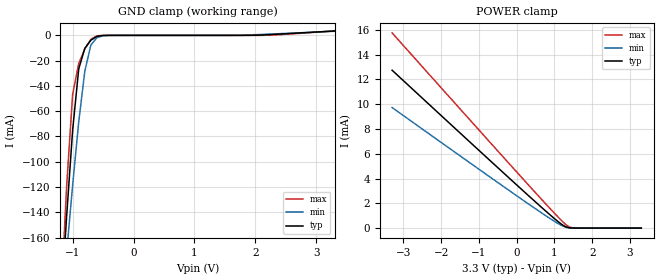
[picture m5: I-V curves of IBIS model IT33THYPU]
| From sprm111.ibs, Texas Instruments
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[Model]   IT33THYPU
Model_type   Input
Polarity   Non-Inverting
| signals   A, Y
Vinl = 0.8V
Vinh = 2.0V
|   typ   min   max
C_comp   1.5797p   1.5046p   1.7659p
|   typ   min   max
[Temperature Range]   25   -40   125
|   typ   min   max
[Voltage Range]   3.30V   3.00V   3.60V
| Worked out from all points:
|   GND clamp passes 1 mA (typ) near -0.61 V on its own axis
[GND_clamp]
|   Voltage   I(typ)   I(min)   I(max)
-3.3V     -2.001A    -1.513A    -2.596A
-1.2V     -220.6mA   -229.5mA   -218.7mA
-1.1V     -144.2mA   -172.9mA   -120.6mA
-1V       -75.08mA   -118.6mA   -46.8mA
-900mV    -26.54mA   -68.59mA   -22.23mA
-800mV    -10.21mA   -28.31mA   -10.8mA
-700mV    -3.767mA   -7.524mA   -3.181mA
-600mV    -734.6uA   -1.835mA   -363.9uA
-400mV    -3.756uA   -40.45uA   -379.8nA
1.6V      1.998uA    10.91uA    674.2nA
2.2V      515.8uA    940.4uA    84.84uA
3.3V      3.487mA    3.251mA    3.522mA
[POWER_clamp]
|   Voltage   I(typ)   I(min)   I(max)
-3.3V     12.75mA    9.735mA    15.76mA
300mV     2.657mA    1.977mA    3.522mA
1V        767.5uA    546.5uA    1.2mA
1.3V      100.6uA    70.16uA    285.4uA
1.4V      17.88uA    13.68uA    83.7uA
1.5V      5.457uA    2.621uA    15.29uA
3.3V      -178.8pA   -3.889uA   -49.96pA
